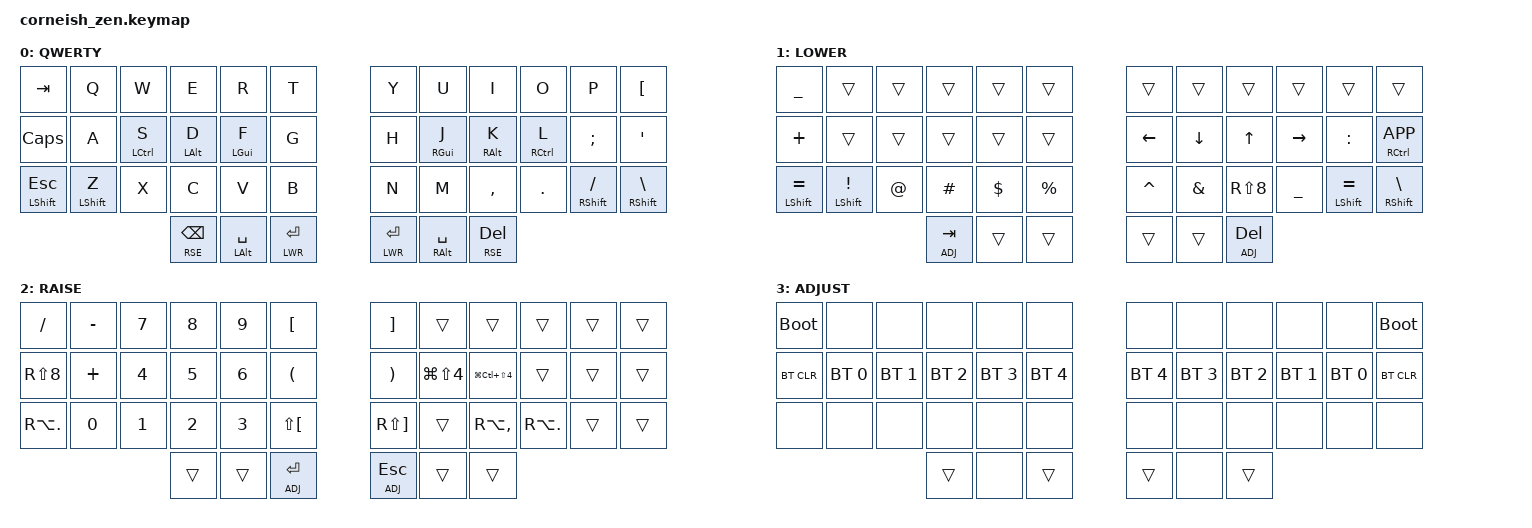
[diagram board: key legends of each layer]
/*
 * Copyright (c) 2021 Rafael Yumagulov
 * Copyright (c) 2021 Darryl deHaan
 * Copyright (c) 2023 Roman Shirokov
 *
 * SPDX-License-Identifier: MIT
 */

#include <behaviors.dtsi>
#include <dt-bindings/zmk/keys.h>
#include <dt-bindings/zmk/bt.h>

#define DEF 0
#define LWR 1
#define RSE 2
#define ADJ 3

&lt { quick_tap_ms = <200>; };
/ {
  chosen {
    zmk,matrix_transform = &default_transform;
    //zmk,matrix_transform = &five_column_transform;
  };
};

/ {
        behaviors {
                bhm: balanced_homerow_mods {
                        compatible = "zmk,behavior-hold-tap";
                        label = "HOMEROW_MODS";
                        #binding-cells = <2>;
                        tapping-term-ms = <200>;    // <---[[moderate duration]]
                        quick-tap-ms = <0>;
                        flavor = "balanced";
                        bindings = <&kp>, <&kp>;
                };
        };
        keymap {
                compatible = "zmk,keymap";

default_layer {
label = "QWERTY";
 /*
| kp TAB          | kp Q        | kp W       | kp E        | kp R          | kp T       | -------- | kp Y              | kp U          | kp I          | kp O         | kp P                | kp LBKT       |
| kp CAPS         | kp A        | mt LCTRL S | mt LALT D   | mt LGUI F     | kp G       | -------- | kp H              | mt RGUI J     | mt RALT  K    | mt RCTRL L   | kp SEMI             | kp SQT        |
| mt LSHIFT GRAVE | mt LSHIFT Z | kp X       | kp C        | kp V          | kp B       | -------- | kp N              | kp M          | kp COMMA      | kp DOT       | mt RSHIFT FSLH      | mt RSHFT BSLH |
|                 |             |            | lt RSE BSPC | mt LALT SPACE | lt LWR RET | -------- | lt LWR RET        | mt RALT SPACE | lt RSE DEL    |              |                     |               |
 */
bindings = <
&kp TAB          &kp Q             &kp W           &kp E        &kp R          &kp T                &kp Y               &kp U           &kp I            &kp O         &kp P                &kp LBKT
&kp CAPS         &kp A             &bhm LCTRL S    &bhm LALT D  &bhm LGUI F    &kp G                &kp H               &bhm RGUI J     &bhm RALT  K     &bhm RCTRL L  &kp SEMI             &kp SQT
&bhm LSHIFT ESC  &bhm LSHIFT Z     &kp X           &kp C        &kp V          &kp B                &kp N               &kp M           &kp COMMA        &kp DOT       &bhm RSHIFT FSLH     &bhm RSHFT BSLH
                                                                &lt RSE BSPC   &bhm LALT SPACE      &lt LWR RET         &lt LWR RET     &bhm RALT SPACE  &lt RSE DEL
                        >;
                };
lower_layer {
label = "LOWER";
/*
| kp UNDER        | trans          | trans      | trans      | trans    | trans      | ------------ | trans    | trans      | trans      | trans     | trans          | trans          |
| kp PLUS         | trans          | trans      | trans      | trans    | trans      | ------------ | kp LEFT  | kp DOWN    | kp UP      | kp RIGHT  | kp INS         | mt RCTRL K_APP |
| mt LSHIFT EQUAL | mt LSHIFT EXCL | kp AT      | kp HASH    | kp DLLR  | kp PRCNT   | ------------ | kp CARET | kp AMPS    | kp RS(N8)  | kp LPAR   | mt LSHIFT RPAR | mt RSHFT BSLH  |
|                 |                |            | lt ADJ TAB | trans    | trans      | ------------ | trans    | trans      | lt ADJ DEL |           |                |                |
*/
bindings = <
&kp UNDER         &trans           &trans        &trans      &trans        &trans                    &trans    &trans   &trans           &trans       &trans              &trans
&kp PLUS          &trans           &trans        &trans      &trans        &trans                    &kp LEFT  &kp DOWN &kp UP           &kp RIGHT    &kp COLON           &bhm RCTRL K_APP
&bhm LSHIFT EQUAL &bhm LSHIFT EXCL &kp AT        &kp HASH    &kp DLLR      &kp PRCNT                 &kp CARET &kp AMPS &kp RS(N8)       &kp UNDER    &bhm LSHIFT EQUAL   &bhm RSHFT BSLH
                                                 &lt ADJ TAB &trans        &trans                    &trans    &trans   &lt ADJ DEL
                        >;
                };

raise_layer {
label = "RAISE";
/*
| FSLH         | MINUS     | N7     | N8       | N9         | LBKT       | ------- | RBKT       | TRNS       | TRNS      | TRNS    | TRNS | TRNS |
| RS(N8)       | PLUS      | N4     | N5       | N6         | LPAR       | ------- | LG(N4)     | LG(LC(N4)) | TRNS      | TRNS    | TRNS | TRNS |
| RA(DOT)      | N0        | N1     | N2       | N3         | LS(LBKT)   | ------- | RS(RBKT)   | TRNS       | RA(COMMA) | RA(DOT) | TRNS | TRNS |
|              |           |        | TRNS     | TRNS       | LT ADJ RET | ------- | LT ADJ ESC | TRNS       | TRNS      |         |      |      |
*/
bindings = <
&kp FSLH       &kp MINUS   &kp N7    &kp N8      &kp N9     &kp LBKT                &kp RBKT     &trans          &trans             &trans       &trans    &trans
&kp RS(N8)     &kp PLUS    &kp N4    &kp N5      &kp N6     &kp LPAR                &kp RPAR     &kp LG(LS(N4))  &kp LG(LC(LS(N4))) &trans       &trans    &trans
&kp RA(DOT)    &kp N0      &kp N1    &kp N2      &kp N3     &kp LS(LBKT)            &kp RS(RBKT) &trans          &kp RA(COMMA)      &kp RA(DOT)  &trans    &trans
                                     &trans      &trans     &lt ADJ RET             &lt ADJ ESC  &trans          &trans
                        >;
                };

adjust_layer {
label = "ADJUST";
/*
| BLDR          |                 |            |            |             |         | ----- |             |            |           |            |             | BLDR      |
| BTCLR         | BT0             | BT1        | BT2        | BT3         | BT4     | ----- | BT4         | BT3        | BT2       | BT1        | BT0         | BTCLR     |
|               |                 |            |            |             |         | ----- |             |            |           |            |             |           |
|               |                 |            |            |             |         | ----- |             |            |           |            |             |           |
*/
bindings = <
&bootloader     &none             &none        &none        &none        &none               &none        &none        &none        &none        &none         &bootloader
&bt BT_CLR      &bt BT_SEL 0      &bt BT_SEL 1 &bt BT_SEL 2 &bt BT_SEL 3 &bt BT_SEL 4        &bt BT_SEL 4 &bt BT_SEL 3 &bt BT_SEL 2 &bt BT_SEL 1 &bt BT_SEL 0  &bt BT_CLR
&none           &none             &none        &none        &none        &none               &none        &none        &none        &none        &none         &none
                                               &trans       &none        &trans              &trans       &none        &trans
                                 >;
                };
        };
};
